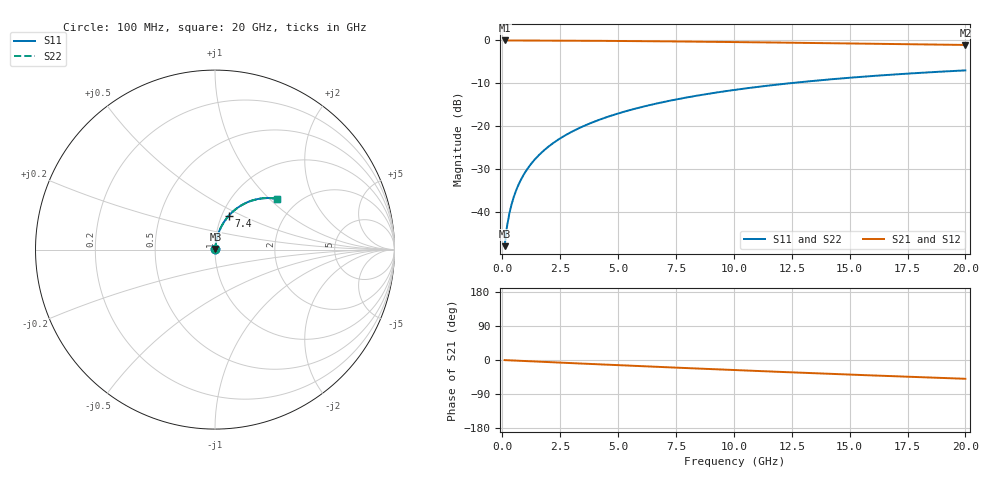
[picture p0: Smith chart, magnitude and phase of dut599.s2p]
! Touchstone file exported from HFSS 2026.1.0
!  File:  C:/ffzhzh/LocalFiles/Ansys_Project_Files/temp_train_TMRDL_599_1783008561_51716.aedt
!  Generated:  12:11:02 AM Jul  3, 2026
!  Design:  TMRDL
!  Project:  temp_train_TMRDL_599_1783008561_51716
! Variables:
!  h_bsmrdl = 2um
!  h_ox = 20um
!  h_rdl = 5um
!  h_sub = 80um
!  h_tmrdl = 4.58um
!  h_tsv = 80um
!  h_via = 3um
!  l_bsmrdl = 300um
!  l_sub = 1133.81um
!  l_tmrdl = 733.81um
!  m_sub = 200um
!  pitch = 58.52um
!  r_tsv = 6um
!  s_tmrdl = 10um
!  w_bsmrdl = 18um
!  w_sub = 500um
!  w_tmrdl = 24.8um
!  x_tsv_center1 = 746.21um
!  x_tsv_center2 = 1064.21um
!  x_tsv_center3 = 1822.82um
!  x_tsv_center4 = 2140.82um
!  x_tsv_center5 = 2899.43um
!  x_tsv_center6 = 3217.43um
# GHz S MA R 50.000000
! Terminal data exported
! Port[1] = TM_RDL1_1_T1
! Port[2] = TM_RDL1_1_T2
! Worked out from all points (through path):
!   200 points, 100 MHz to 20 GHz, reference 50 ohm
!   highest |S21| = -0.02 dB at 100 MHz (marker M1); lowest = -1.1 dB at 20 GHz (marker M2)
!   group delay of S21, straight-line fit = 6.89 ps
!   lowest |S11| = -48.0 dB at 100 MHz (marker M3), VSWR 1.01, Z = 50.2 + j0.314 ohm
!   |S11| at or under -10 dB: start of sweep to 12.4 GHz
!   |S22| runs from -48.0 to -7.0 dB; largest |S21 - S12| = 8.1e-15
!   S11 on the Smith chart (normalised r, x): 100 MHz: 1.00, +0.01; 7.4 GHz: 1.08, +0.42; 20 GHz: 1.58, +1.11
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0.1  0.003999 51.4  0.9975 -0.3  0.9975 -0.3  0.003999 51.4
! Gamma 0 0 0 0
! Port Impedance 50 0 50 0
0.2  0.006688 66.1  0.9973 -0.6  0.9973 -0.6  0.006688 66.1
0.3  0.009473 72.0  0.9972 -0.9  0.9972 -0.9  0.009473 72.0
0.4  0.01228 75.3  0.997 -1.1  0.997 -1.1  0.01228 75.3
0.5  0.0151 77.3  0.9969 -1.4  0.9969 -1.4  0.0151 77.3
0.7  0.02078 79.6  0.9967 -2.0  0.9967 -2.0  0.02078 79.6
0.8  0.02364 80.2  0.9966 -2.2  0.9966 -2.2  0.02364 80.2
1  0.02936 81.0  0.9964 -2.8  0.9964 -2.8  0.02936 81.0
1.2  0.0351 81.3  0.9961 -3.3  0.9961 -3.3  0.0351 81.3
1.4  0.04083 81.4  0.9958 -3.9  0.9958 -3.9  0.04083 81.4
1.7  0.04941 81.2  0.9952 -4.7  0.9952 -4.7  0.04941 81.2
2  0.05796 80.8  0.9946 -5.5  0.9946 -5.5  0.05796 80.8
2.7  0.07773 79.5  0.9928 -7.4  0.9928 -7.4  0.07773 79.4
3.5  0.09997 77.6  0.9902 -9.6  0.9902 -9.6  0.09998 77.6
4.2  0.1191 75.9  0.9875 -11.5  0.9875 -11.5  0.1191 75.9
5  0.1405 74.0  0.9841 -13.6  0.9841 -13.6  0.1405 73.9
6.8  0.1872 69.5  0.9752 -18.3  0.9752 -18.3  0.1872 69.5
7.4  0.2022 68.0  0.9719 -19.9  0.9719 -19.9  0.2022 68.0
10.1  0.2663 61.5  0.9553 -26.7  0.9553 -26.7  0.2663 61.4
13.4  0.3364 53.7  0.9323 -34.7  0.9323 -34.7  0.3364 53.6
16.7  0.3966 46.3  0.908 -42.3  0.908 -42.3  0.3966 46.2
20  0.447 39.2  0.8842 -49.6  0.8842 -49.6  0.4471 39.1
